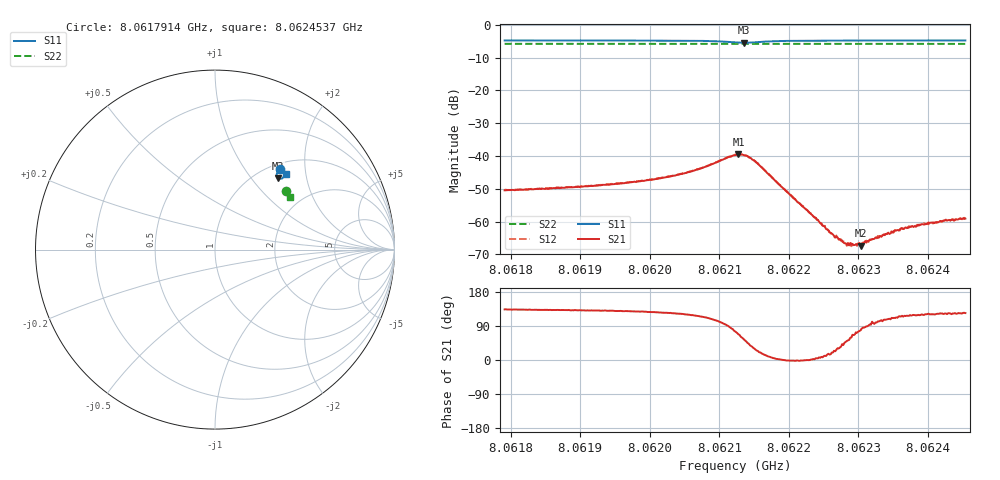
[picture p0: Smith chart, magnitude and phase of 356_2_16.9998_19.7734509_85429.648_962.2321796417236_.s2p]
#  HZ  S  RI  R  50.00
! Rohde & Schwarz Vector Network Analyzer
! Rohde-Schwarz,ZNB20-2Port,1311601062101988,3.16
! Created: UTC 3/20/2024, 11:08:02 PM
! freq[Hz]  re:S11  im:S11  re:S21  im:S21  re:S12  im:S12  re:S22  im:S22
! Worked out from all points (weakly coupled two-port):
!   401 points, 8.0617914 GHz to 8.0624537 GHz, reference 50 ohm
!   highest |S21| = -39.49 dB at 8.0621275 GHz (marker M1); lowest = -67.4 dB at 8.062303 GHz (marker M2)
!   lowest |S11| = -5.5 dB at 8.0621358 GHz (marker M3), VSWR 3.27, Z = 61.7 + j68.6 ohm
!   |S11| at or under -10 dB: nowhere
!   |S22| runs from -5.9 to -5.8 dB; largest |S21 - S12| = 0.00082
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8.06179142e9  0.3637 0.4467  -0.00206 0.00216  -0.00195 0.00232  0.3966 0.3243
8.06190234e9  0.3713 0.4401  -0.00224 0.00259  -0.00211 0.00272  0.4008 0.3188
8.06195863e9  0.3754 0.436  -0.00244 0.00295  -0.00224 0.00309  0.403 0.3159
8.06201327e9  0.3799 0.4304  -0.00267 0.0037  -0.00245 0.00387  0.405 0.3129
8.06206625e9  0.3844 0.4202  -0.00278 0.00545  -0.00249 0.00562  0.4068 0.3101
8.06212254e9  0.3664 0.3942  0.00258 0.00997  0.00313 0.00995  0.4077 0.3066
8.0621275e9  0.3601 0.3945  0.00403 0.00981  0.0046 0.00966  0.4075 0.3063
8.06213578e9  0.35 0.3995  0.00611 0.00826  0.00668 0.00804  0.4074 0.3062
8.06214241e9  0.3448 0.4068  0.007 0.00646  0.00755 0.00602  0.4075 0.3063
8.06215234e9  0.3434 0.4187  0.00719 0.00364  0.00752 0.00334  0.4081 0.3065
8.06223346e9  0.3725 0.4347  0.00125 3.06e-05  0.00124 -2.77e-05  0.4122 0.303
8.06226326e9  0.3773 0.4327  0.000598 0.000216  0.000559 0.000207  0.4132 0.3012
8.06227982e9  0.3792 0.4317  0.000328 0.000333  0.000385 0.000308  0.4141 0.3004
8.06229306e9  0.3807 0.4309  0.00018 0.000398  0.000197 0.000384  0.4145 0.2997
8.062303e9  0.3817 0.4301  8.7e-05 0.000419  0.000108 0.000476  0.4149 0.2992
8.06231624e9  0.383 0.4293  -3.43e-05 0.000517  4.04e-05 0.000531  0.4155 0.2986
8.06234439e9  0.3855 0.4275  -0.000209 0.000612  -0.000192 0.000635  0.4164 0.2971
8.06236426e9  0.387 0.4263  -0.00032 0.000699  -0.000302 0.00071  0.417 0.296
8.06239075e9  0.389 0.4249  -0.00046 0.000786  -0.000414 0.000809  0.418 0.2946
8.06241061e9  0.3904 0.4237  -0.000497 0.000838  -0.000444 0.000856  0.4187 0.2936
8.06242551e9  0.3914 0.4228  -0.000572 0.000884  -0.000531 0.00093  0.4193 0.2929
8.06245366e9  0.3932 0.4214  -0.000618 0.000922  -0.000556 0.000933  0.4202 0.2913
